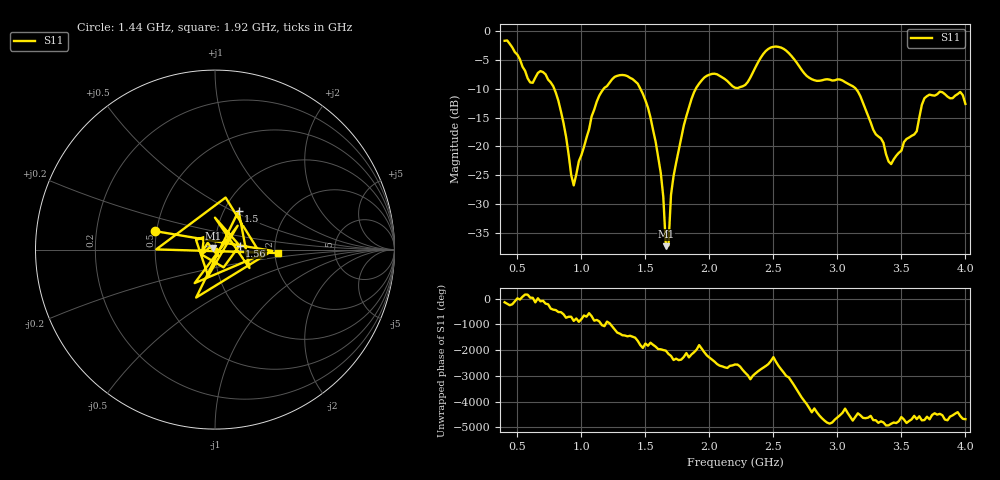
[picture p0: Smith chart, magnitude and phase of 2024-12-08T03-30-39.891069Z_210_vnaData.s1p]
!Created with skrf (http://scikit-rf.org).
# Hz S RI R 50.0
!freq ReS11 ImS11
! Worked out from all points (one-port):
!   181 points, 400 MHz to 4 GHz, reference 50 ohm
!   lowest |S11| = -37.3 dB at 1.66 GHz (marker M1), VSWR 1.03, Z = 48.9 + j0.839 ohm
!   |S11| at or under -10 dB: 788.4 MHz to 1.173 GHz (384.7 MHz wide, 39.2 % of centre); 1.461 GHz to 1.893 GHz (431.7 MHz wide, 25.7 % of centre); 3.145 GHz to end of sweep
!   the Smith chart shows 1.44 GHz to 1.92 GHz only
!   S11 on the Smith chart (normalised r, x): 1.44 GHz: 0.49, +0.12; 1.5 GHz: 1.17, +0.54; 1.56 GHz: 1.32, +0.06; 1.92 GHz: 2.08, -0.09
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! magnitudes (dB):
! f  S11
! 400 MHz  -1.6
! 600 MHz  -8.9
! 720 MHz  -7.5
! 860 MHz  -15.9
! 940 MHz  -26.8
! 1.12 GHz  -12.2
! 1.3 GHz  -7.6
! 1.44 GHz  -9.1
! 1.5 GHz  -12.0
! 1.56 GHz  -17.2
! 1.62 GHz  -24.6
! 1.64 GHz  -28.8
! 1.66 GHz  -37.3
! 1.68 GHz  -37.2
! 1.7 GHz  -28.4
! 1.76 GHz  -20.6
! 1.92 GHz  -9.1
! 2.04 GHz  -7.3
! 2.2 GHz  -9.8
! 2.48 GHz  -2.8
! 2.66 GHz  -4.8
! 2.8 GHz  -8.3
! 3.1 GHz  -9.3
! 3.42 GHz  -23.1
! 3.56 GHz  -18.5
! 3.62 GHz  -17.3
! 3.7 GHz  -11.2
! 4 GHz  -12.6
